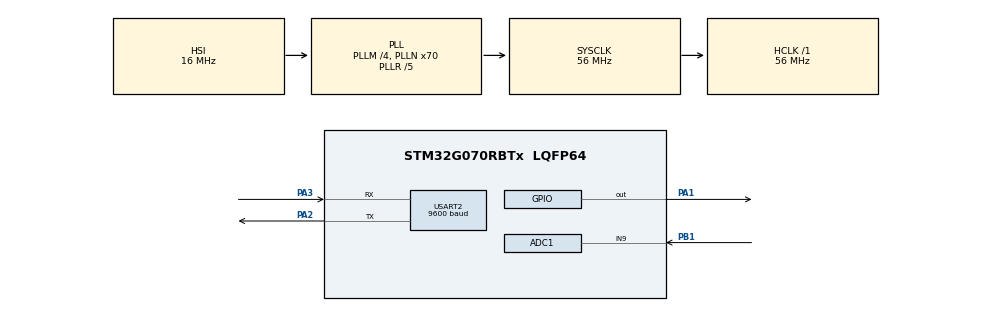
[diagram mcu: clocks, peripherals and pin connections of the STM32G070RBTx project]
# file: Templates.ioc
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ADC1.Channel-0\#ChannelRegularConversion=ADC_CHANNEL_9
ADC1.ContinuousConvMode=ENABLE
ADC1.NbrOfConversionFlag=1
ADC1.Rank-0\#ChannelRegularConversion=1
ADC1.SamplingTime-0\#ChannelRegularConversion=ADC_SAMPLINGTIME_COMMON_1
ADC1.SelectedChannel=ADC_CHANNEL_9
ADC1.master=1
Mcu.Family=STM32G0
Mcu.Name=STM32G070RBTx
Mcu.Package=LQFP64
PA1.Signal=GPIO_Output
PA13.Mode=Serial_Wire
PA13.Signal=SYS_SWDIO
PA14-BOOT0.Mode=Serial_Wire
PA14-BOOT0.Signal=SYS_SWCLK
PA2.Mode=Asynchronous
PA2.Signal=USART2_TX
PA3.Mode=Asynchronous
PA3.Signal=USART2_RX
PB1.Mode=IN9
PB1.Signal=ADC1_IN9
PF0-OSC_IN\ (PF0).Mode=HSE-External-Oscillator
PF0-OSC_IN\ (PF0).Signal=RCC_OSC_IN
PF1-OSC_OUT\ (PF1).Mode=HSE-External-Oscillator
PF1-OSC_OUT\ (PF1).Signal=RCC_OSC_OUT
ProjectManager.HeapSize=0x200
ProjectManager.StackSize=0x400
ProjectManager.TargetToolchain=STM32CubeIDE
RCC.ADCFreq_Value=56000000
RCC.AHBFreq_Value=56000000
RCC.CodegenConfigPeriph=false
RCC.CortexFreq_Value=56000000
RCC.EXTERNAL_CLOCK_VALUE=48000
RCC.HCLKFreq_Value=56000000
RCC.HSE_VALUE=8000000
RCC.HSI_VALUE=16000000
RCC.LSE_VALUE=32768
RCC.PLLM=RCC_PLLM_DIV4
RCC.PLLN=70
RCC.PLLP=RCC_PLLP_DIV10
RCC.PLLQ=RCC_PLLQ_DIV5
RCC.PLLR=RCC_PLLR_DIV5
RCC.SYSCLKFreq_VALUE=56000000
RCC.SYSCLKSource=RCC_SYSCLKSOURCE_PLLCLK
RCC.VCOOutputFreq_Value=280000000
TIM1.Prescaler=55
USART2.BaudRate=9600
USART2.VirtualMode-Asynchronous=VM_ASYNC
VP_SYS_VS_DBSignals.Mode=DisableDeadBatterySignals
VP_TIM1_VS_ClockSourceINT.Mode=Internal
board=custom

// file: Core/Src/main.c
/* USER CODE BEGIN Header */
/**
  ******************************************************************************
  * @file           : main.c
  * @brief          : Main program body
  ******************************************************************************
  * @attention
  *
  * Copyright (c) 2024 STMicroelectronics.
  * All rights reserved.
  *
  * This software is licensed under terms that can be found in the LICENSE file
  * in the root directory of this software component.
  * If no LICENSE file comes with this software, it is provided AS-IS.
  *
  ******************************************************************************
  */
/* USER CODE END Header */
#include "main.h"

/* USER CODE BEGIN Includes */
#include <stdio.h>
/* USER CODE END Includes */

ADC_HandleTypeDef hadc1;

TIM_HandleTypeDef htim1;

UART_HandleTypeDef huart2;

/* USER CODE BEGIN PV */
#define DHT22_PORT GPIOA
#define DHT22_PIN GPIO_PIN_1

uint8_t RH1, RH2, TC1, TC2, SUM, CHECK;
uint32_t pMillis, cMillis;
float tCelsius = 0;
float tFahrenheit = 0;
float RH = 0;
uint8_t txBuffer[100];

uint16_t readValue;
float soil_moisture;
uint16_t minADC = 1200;
uint16_t maxADC = 3000;

/* USER CODE END PV */

void SystemClock_Config(void);
static void MX_GPIO_Init(void);
static void MX_TIM1_Init(void);
static void MX_USART2_UART_Init(void);
static void MX_ADC1_Init(void);

/* USER CODE BEGIN 0 */
void microDelay(uint16_t delay) {
    __HAL_TIM_SET_COUNTER(&htim1, 0);
    while (__HAL_TIM_GET_COUNTER(&htim1) < delay);
}

uint8_t DHT22_Start(void) {
    uint8_t Response = 0;
    GPIO_InitTypeDef GPIO_InitStruct = {0};

    // Set pin as output
    HAL_GPIO_WritePin(DHT22_PORT, DHT22_PIN, GPIO_PIN_RESET);
    GPIO_InitStruct.Pin = DHT22_PIN;
    GPIO_InitStruct.Mode = GPIO_MODE_OUTPUT_PP;
    GPIO_InitStruct.Pull = GPIO_NOPULL;
    GPIO_InitStruct.Speed = GPIO_SPEED_FREQ_LOW;
    HAL_GPIO_Init(DHT22_PORT, &GPIO_InitStruct);

    // Pull the pin low for 1300 µs
    HAL_GPIO_WritePin(DHT22_PORT, DHT22_PIN, 0); // Pin low
    microDelay(1300); // Wait for 1300 µs
    HAL_GPIO_WritePin(DHT22_PORT, DHT22_PIN, 1); // Pin high
    microDelay(30); // Wait for 30 µs

    // Set pin as input to receive response
    GPIO_InitStruct.Mode = GPIO_MODE_INPUT;
    GPIO_InitStruct.Pull = GPIO_NOPULL; // Default pull-up (internally)
    HAL_GPIO_Init(DHT22_PORT, &GPIO_InitStruct);

    // Wait for sensor response, checking if the pin is low
    microDelay(40); // Wait for 40 µs
    if (!HAL_GPIO_ReadPin(DHT22_PORT, DHT22_PIN)) { // If pin is low
        microDelay(80); // Wait for 80 µs (total 120 µs from the start)
        if (HAL_GPIO_ReadPin(DHT22_PORT, DHT22_PIN)) Response = 1; // If pin goes high, response OK
    }

    // Wait for the pin to go low (sensor finishes communication)
    pMillis = HAL_GetTick();
    while (HAL_GPIO_ReadPin(DHT22_PORT, DHT22_PIN) && (HAL_GetTick() - pMillis < 2)); // Timeout if pin stays high for too long

    return Response; // Return 1 if response was valid, 0 otherwise
}

uint8_t DHT22_Read(void) {
    uint8_t a, b = 0;
    for (a = 0; a < 8; a++) {
        pMillis = HAL_GetTick();
        while (!HAL_GPIO_ReadPin(DHT22_PORT, DHT22_PIN) && (HAL_GetTick() - pMillis < 2));

        microDelay(40); // Wait for 40us

        if (HAL_GPIO_ReadPin(DHT22_PORT, DHT22_PIN))
            b |= (1 << (7 - a)); // Set bit
        else
            b &= ~(1 << (7 - a)); // Clear bit

        pMillis = HAL_GetTick();
        while (HAL_GPIO_ReadPin(DHT22_PORT, DHT22_PIN) && (HAL_GetTick() - pMillis < 2));
    }
    return b;
}
/* USER CODE END 0 */

int main(void)
{

  /* MCU Configuration--------------------------------------------------------*/

  /* Reset of all peripherals, Initializes the Flash interface and the Systick. */
  HAL_Init();

  /* Configure the system clock */
  SystemClock_Config();

  /* Initialize all configured peripherals */
  MX_GPIO_Init();
  MX_TIM1_Init();
  MX_USART2_UART_Init();
  MX_ADC1_Init();
  /* USER CODE BEGIN 2 */
  HAL_TIM_Base_Start(&htim1);
  HAL_ADC_Start(&hadc1);
  /* USER CODE END 2 */

  /* Infinite loop */
  while (1)
  {

    /* USER CODE BEGIN 3 */
      if (DHT22_Start()) {
          // Read DHT22 sensor data
          RH1 = DHT22_Read();
          RH2 = DHT22_Read();
          TC1 = DHT22_Read();
          TC2 = DHT22_Read();
          SUM = DHT22_Read();

          // Verify checksum
          CHECK = RH1 + RH2 + TC1 + TC2;
          if (CHECK == SUM) {
              // Calculate temperature in Celsius
              if (TC1 > 127) { // Negative temperature
                  tCelsius = (float)TC2 / 10 * (-1);
              } else {
                  tCelsius = (float)((TC1 << 8) | TC2) / 10;
              }
              // Convert to Fahrenheit
              tFahrenheit = tCelsius * 9 / 5 + 32;

              // Calculate relative humidity
              RH = (float)((RH1 << 8) | RH2) / 10;
          }
      }

      // Scale temperature and humidity for easier formatting
      int16_t tCelsiusScaled = (int16_t)(tCelsius * 10);
      int16_t RHScaled = (int16_t)(RH * 10);

      // --------- Read soil moisture
      HAL_GPIO_WritePin(GPIOA, GPIO_PIN_0, GPIO_PIN_SET); // Enable sensor
      HAL_Delay(100); // Wait 100 ms for stabilization

      // Read ADC raw value
      HAL_ADC_PollForConversion(&hadc1, 1000);
      readValue = HAL_ADC_GetValue(&hadc1); // Get raw ADC value
      HAL_GPIO_WritePin(GPIOA, GPIO_PIN_0, GPIO_PIN_RESET); // Disable sensor

      // Clamp ADC value within valid range
      if (readValue < minADC) {
          readValue = minADC;
      } else if (readValue > maxADC) {
          readValue = maxADC;
      }

      // Calculate soil moisture percentage
      soil_moisture = (1.0 - ((float)(readValue - minADC) / (float)(maxADC - minADC))) * 100.0;

      // Apply moving average for smoothing
      static float previousMoisture = 0;
      soil_moisture = 0.9 * previousMoisture + 0.1 * soil_moisture;
      previousMoisture = soil_moisture;

      // Scale soil moisture for easier formatting
      int16_t soilMoistureScaled = (int16_t)(soil_moisture * 10);

      // Format data into a string
      sprintf((char *)txBuffer,
          "Temperature:%d.%dC,Humidity:%d.%d%%,Soil Moisture:%d.%d%%\n",
          tCelsiusScaled / 10, tCelsiusScaled % 10,
          RHScaled / 10, RHScaled % 10,
          soilMoistureScaled / 10, soilMoistureScaled % 10);

      // Send the formatted string over UART2
      HAL_UART_Transmit(&huart2, txBuffer, strlen((char *)txBuffer), HAL_MAX_DELAY);

      // Delay 10 seconds
      HAL_Delay(10000);
  }

  /* USER CODE END 3 */
}

void SystemClock_Config(void)
{
  RCC_OscInitTypeDef RCC_OscInitStruct = {0};
  RCC_ClkInitTypeDef RCC_ClkInitStruct = {0};

  /** Configure the main internal regulator output voltage
  */
  HAL_PWREx_ControlVoltageScaling(PWR_REGULATOR_VOLTAGE_SCALE1);

  /** Initializes the RCC Oscillators according to the specified parameters
  * in the RCC_OscInitTypeDef structure.
  */
  RCC_OscInitStruct.OscillatorType = RCC_OSCILLATORTYPE_HSI;
  RCC_OscInitStruct.HSIState = RCC_HSI_ON;
  RCC_OscInitStruct.HSIDiv = RCC_HSI_DIV1;
  RCC_OscInitStruct.HSICalibrationValue = RCC_HSICALIBRATION_DEFAULT;
  RCC_OscInitStruct.PLL.PLLState = RCC_PLL_ON;
  RCC_OscInitStruct.PLL.PLLSource = RCC_PLLSOURCE_HSI;
  RCC_OscInitStruct.PLL.PLLM = RCC_PLLM_DIV4;
  RCC_OscInitStruct.PLL.PLLN = 70;
  RCC_OscInitStruct.PLL.PLLP = RCC_PLLP_DIV10;
  RCC_OscInitStruct.PLL.PLLR = RCC_PLLR_DIV5;
  if (HAL_RCC_OscConfig(&RCC_OscInitStruct) != HAL_OK)
  {
    Error_Handler();
  }

  /** Initializes the CPU, AHB and APB buses clocks
  */
  RCC_ClkInitStruct.ClockType = RCC_CLOCKTYPE_HCLK|RCC_CLOCKTYPE_SYSCLK
                              |RCC_CLOCKTYPE_PCLK1;
  RCC_ClkInitStruct.SYSCLKSource = RCC_SYSCLKSOURCE_PLLCLK;
  RCC_ClkInitStruct.AHBCLKDivider = RCC_SYSCLK_DIV1;
  RCC_ClkInitStruct.APB1CLKDivider = RCC_HCLK_DIV1;

  if (HAL_RCC_ClockConfig(&RCC_ClkInitStruct, FLASH_LATENCY_2) != HAL_OK)
  {
    Error_Handler();
  }
}

static void MX_ADC1_Init(void)
{

  ADC_ChannelConfTypeDef sConfig = {0};

  /** Configure the global features of the ADC (Clock, Resolution, Data Alignment and number of conversion)
  */
  hadc1.Instance = ADC1;
  hadc1.Init.ClockPrescaler = ADC_CLOCK_SYNC_PCLK_DIV2;
  hadc1.Init.Resolution = ADC_RESOLUTION_12B;
  hadc1.Init.DataAlign = ADC_DATAALIGN_RIGHT;
  hadc1.Init.ScanConvMode = ADC_SCAN_DISABLE;
  hadc1.Init.EOCSelection = ADC_EOC_SINGLE_CONV;
  hadc1.Init.LowPowerAutoWait = DISABLE;
  hadc1.Init.LowPowerAutoPowerOff = DISABLE;
  hadc1.Init.ContinuousConvMode = ENABLE;
  hadc1.Init.NbrOfConversion = 1;
  hadc1.Init.ExternalTrigConv = ADC_SOFTWARE_START;
  hadc1.Init.ExternalTrigConvEdge = ADC_EXTERNALTRIGCONVEDGE_NONE;
  hadc1.Init.DMAContinuousRequests = DISABLE;
  hadc1.Init.Overrun = ADC_OVR_DATA_PRESERVED;
  hadc1.Init.SamplingTimeCommon1 = ADC_SAMPLETIME_1CYCLE_5;
  hadc1.Init.SamplingTimeCommon2 = ADC_SAMPLETIME_1CYCLE_5;
  hadc1.Init.OversamplingMode = DISABLE;
  hadc1.Init.TriggerFrequencyMode = ADC_TRIGGER_FREQ_HIGH;
  if (HAL_ADC_Init(&hadc1) != HAL_OK)
  {
    Error_Handler();
  }

  /** Configure Regular Channel
  */
  sConfig.Channel = ADC_CHANNEL_9;
  sConfig.Rank = ADC_REGULAR_RANK_1;
  sConfig.SamplingTime = ADC_SAMPLINGTIME_COMMON_1;
  if (HAL_ADC_ConfigChannel(&hadc1, &sConfig) != HAL_OK)
  {
    Error_Handler();
  }

}

static void MX_TIM1_Init(void)
{

  TIM_ClockConfigTypeDef sClockSourceConfig = {0};
  TIM_MasterConfigTypeDef sMasterConfig = {0};

  htim1.Instance = TIM1;
  htim1.Init.Prescaler = 55;
  htim1.Init.CounterMode = TIM_COUNTERMODE_UP;
  htim1.Init.Period = 65535;
  htim1.Init.ClockDivision = TIM_CLOCKDIVISION_DIV1;
  htim1.Init.RepetitionCounter = 0;
  htim1.Init.AutoReloadPreload = TIM_AUTORELOAD_PRELOAD_DISABLE;
  if (HAL_TIM_Base_Init(&htim1) != HAL_OK)
  {
    Error_Handler();
  }
  sClockSourceConfig.ClockSource = TIM_CLOCKSOURCE_INTERNAL;
  if (HAL_TIM_ConfigClockSource(&htim1, &sClockSourceConfig) != HAL_OK)
  {
    Error_Handler();
  }
  sMasterConfig.MasterOutputTrigger = TIM_TRGO_RESET;
  sMasterConfig.MasterOutputTrigger2 = TIM_TRGO2_RESET;
  sMasterConfig.MasterSlaveMode = TIM_MASTERSLAVEMODE_DISABLE;
  if (HAL_TIMEx_MasterConfigSynchronization(&htim1, &sMasterConfig) != HAL_OK)
  {
    Error_Handler();
  }

}

static void MX_USART2_UART_Init(void)
{

  huart2.Instance = USART2;
  huart2.Init.BaudRate = 9600;
  huart2.Init.WordLength = UART_WORDLENGTH_8B;
  huart2.Init.StopBits = UART_STOPBITS_1;
  huart2.Init.Parity = UART_PARITY_NONE;
  huart2.Init.Mode = UART_MODE_TX_RX;
  huart2.Init.HwFlowCtl = UART_HWCONTROL_NONE;
  huart2.Init.OverSampling = UART_OVERSAMPLING_16;
  huart2.Init.OneBitSampling = UART_ONE_BIT_SAMPLE_DISABLE;
  huart2.Init.ClockPrescaler = UART_PRESCALER_DIV1;
  huart2.AdvancedInit.AdvFeatureInit = UART_ADVFEATURE_NO_INIT;
  if (HAL_UART_Init(&huart2) != HAL_OK)
  {
    Error_Handler();
  }
  if (HAL_UARTEx_SetTxFifoThreshold(&huart2, UART_TXFIFO_THRESHOLD_1_8) != HAL_OK)
  {
    Error_Handler();
  }
  if (HAL_UARTEx_SetRxFifoThreshold(&huart2, UART_RXFIFO_THRESHOLD_1_8) != HAL_OK)
  {
    Error_Handler();
  }
  if (HAL_UARTEx_DisableFifoMode(&huart2) != HAL_OK)
  {
    Error_Handler();
  }

}

static void MX_GPIO_Init(void)
{
  GPIO_InitTypeDef GPIO_InitStruct = {0};

  /* GPIO Ports Clock Enable */
  __HAL_RCC_GPIOF_CLK_ENABLE();
  __HAL_RCC_GPIOA_CLK_ENABLE();
  __HAL_RCC_GPIOB_CLK_ENABLE();

  /*Configure GPIO pin Output Level */
  HAL_GPIO_WritePin(GPIOA, GPIO_PIN_1, GPIO_PIN_RESET);

  /*Configure GPIO pin : PA1 */
  GPIO_InitStruct.Pin = GPIO_PIN_1;
  GPIO_InitStruct.Mode = GPIO_MODE_OUTPUT_PP;
  GPIO_InitStruct.Pull = GPIO_NOPULL;
  GPIO_InitStruct.Speed = GPIO_SPEED_FREQ_LOW;
  HAL_GPIO_Init(GPIOA, &GPIO_InitStruct);

}

void Error_Handler(void)
{
  __disable_irq();
  while (1)
  {
  }
}
